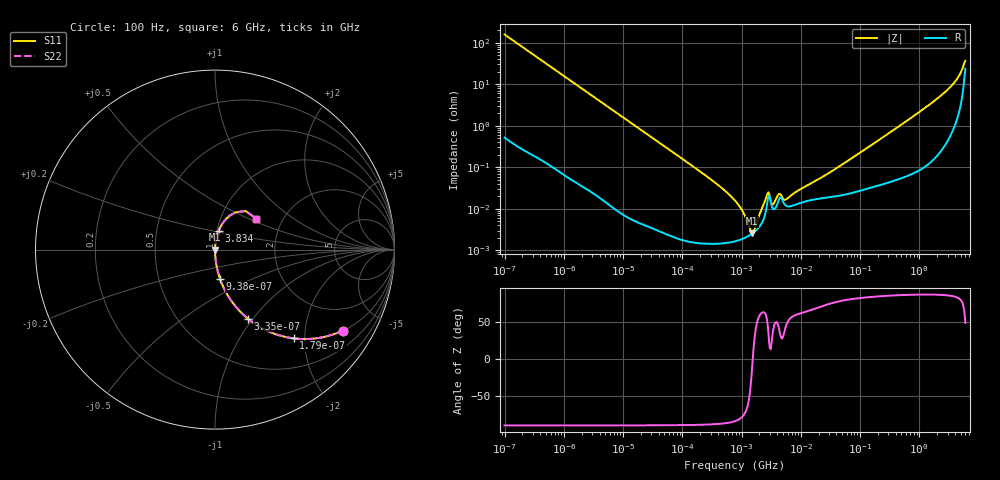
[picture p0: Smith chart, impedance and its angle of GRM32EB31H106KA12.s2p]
!Murata Part Number: GRM32EB31H106KA12
!These Parameters are Measured in Series Mode Connection
!Data Generated on Mar 30, 2021
!  o--ll--o
!Port1  Port2
!  o------o
!Operation Temp=25[degC], DC Bias Voltage=0[V]
!Freq. Start=100[Hz] Stop=6[GHz] 401[Steps]
# Hz S RI R 50
!Freq.(Hz) S11(Real) S11(Imag) S21(Real) S21(Imag) S12(Real) S12(Imag) S22(Real) S22(Imag)
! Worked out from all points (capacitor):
!   401 points, 100 Hz to 6 GHz, reference 50 ohm
!   read as one part in series: C = 10.1 uF near 109 Hz
!   lowest |Z| = 2.59 mohm at 1.516 MHz (marker M1)
!   series resonance near 1.544 MHz, so ESL is about 1.1 nH
!   S11 on the Smith chart (normalised r, x): 100 Hz: 1.01, -3.15; 179 Hz: 1.01, -1.76; 335 Hz: 1.00, -0.94; 938 Hz: 1.00, -0.34; 3.834 GHz: 1.02, +0.21; 6 GHz: 1.47, +0.55
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100  0.7122 -0.4511  0.2878 0.4511  0.2878 0.4511  0.7122 -0.4511
179  0.4374 -0.4944  0.5626 0.4944  0.5626 0.4944  0.4374 -0.4944
335  0.1828 -0.3846  0.8172 0.3846  0.8172 0.3846  0.1828 -0.3846
938  0.0284 -0.1639  0.9716 0.1639  0.9716 0.1639  0.0284 -0.1639
2008  0.00655 -0.0785  0.9935 0.0785  0.9935 0.0785  0.00655 -0.0785
40335  4.48e-05 -0.00396  1 0.00396  1 0.00396  4.48e-05 -0.00396
330837  1.45e-05 -0.000464  1 0.000464  1 0.000464  1.45e-05 -0.000464
774597  1.65e-05 -0.000157  1 0.000157  1 0.000157  1.65e-05 -0.000157
1013323  1.87e-05 -9.19e-05  1 9.19e-05  1 9.19e-05  1.87e-05 -9.19e-05
1516199  2.56e-05 -4e-06  1 4e-06  1 4e-06  2.56e-05 -4e-06
2169299  4.4e-05 8.52e-05  1 -8.52e-05  1 -8.52e-05  4.4e-05 8.52e-05
2713602  0.000138 0.000175  0.9999 -0.000175  0.9999 -0.000175  0.000138 0.000175
2837864  0.000204 0.000147  0.9998 -0.000147  0.9998 -0.000147  0.000204 0.000147
3394479  9.96e-05 7.85e-05  0.9999 -7.85e-05  0.9999 -7.85e-05  9.96e-05 7.85e-05
4246196  0.000164 0.000154  0.9998 -0.000154  0.9998 -0.000154  0.000164 0.000154
5554849  0.00012 0.000115  0.9999 -0.000115  0.9999 -0.000115  0.00012 0.000115
1.555665e7  0.000164 0.000392  0.9998 -0.000392  0.9998 -0.000392  0.000164 0.000392
3.124326e8  0.00048 0.00672  0.9995 -0.00672  0.9995 -0.00672  0.00048 0.00672
1.791126e9  0.00315 0.0394  0.9969 -0.0394  0.9969 -0.0394  0.00315 0.0394
3.8344e9  0.0196 0.1033  0.9804 -0.1033  0.9804 -0.1033  0.0196 0.1033
5.016141e9  0.0628 0.1718  0.9372 -0.1718  0.9372 -0.1718  0.0628 0.1718
6e9  0.2302 0.1719  0.7698 -0.1719  0.7698 -0.1719  0.2302 0.1719
